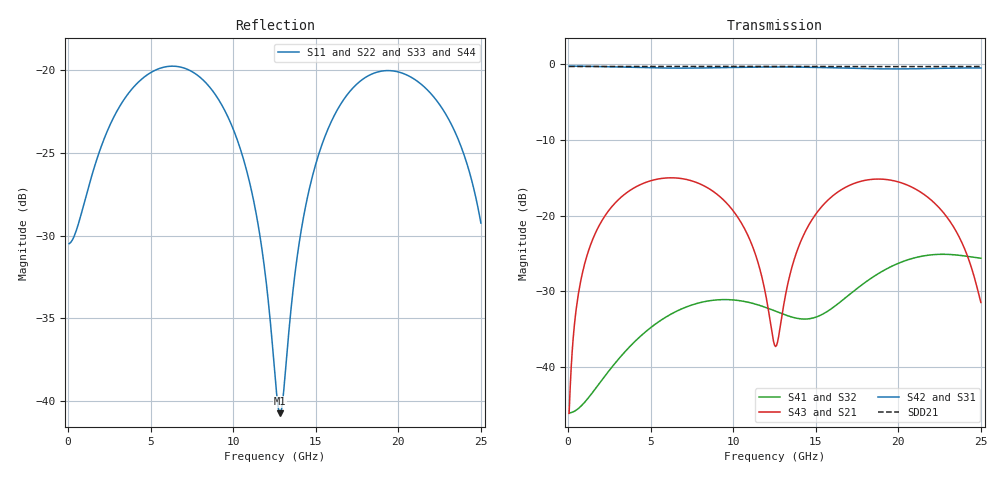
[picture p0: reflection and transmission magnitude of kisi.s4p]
! thru_BV_ts_m2_per0_q050f25s_out: 2×thru In3.Cu, 6 mm, pair
! stackup: as the board case
! ports: 1 near, 2 near, 3 far, 4 far
! kisi-fdtd, conformal, dfine 0.05 mm, 193256 cells
# Hz S RI R 50
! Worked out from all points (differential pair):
!   400 points, 62.5 MHz to 25 GHz, reference 50 ohm
!   strongest paths, dB at 62.5 MHz, 6.312 GHz, 12.56 GHz, 18.81 GHz, 25 GHz:
!     S42: -0.3, -0.5, -0.4, -0.6, -0.5
!     S31: -0.3, -0.5, -0.4, -0.6, -0.5
!     S43: -46.1, -15.0, -37.3, -15.2, -31.5
!     S21: -46.1, -15.0, -37.3, -15.2, -31.5
!     S41: -46.1, -32.9, -32.6, -27.6, -25.6
!     S32: -46.1, -32.9, -32.6, -27.6, -25.6
!   taken as a pair (ports 2,1 in; 4,3 out), SDD21 dB: -0.3, -0.3, -0.3, -0.3, -0.3
!   lowest |S11| = -40.7 dB at 12.81 GHz (marker M1), VSWR 1.02, Z = 50.9 - j0.0554 ohm
!   |S11| at or under -10 dB: start of sweep to end of sweep
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6.25e7  -0.0298 0.00229  0.00394 0.00297  0.9714 -0.016  0.00494 -0.000381
        0.00394 0.00297  -0.0298 0.00229  0.00494 -0.000381  0.9714 -0.016
        0.9714 -0.016  0.00494 -0.000381  -0.0298 0.00229  0.00394 0.00297
        0.00494 -0.000381  0.9714 -0.016  0.00394 0.00297  -0.0298 0.00229
1.25e9  -0.0154 0.0418  0.0236 0.0542  0.917 -0.3136  0.000856 -0.00623
        0.0236 0.0542  -0.0154 0.0418  0.000856 -0.00623  0.917 -0.3136
        0.917 -0.3136  0.000856 -0.00623  -0.0154 0.0418  0.0236 0.0542
        0.000856 -0.00623  0.917 -0.3136  0.0236 0.0542  -0.0154 0.0418
4.625e9  0.0784 0.0548  0.154 0.0575  0.3425 -0.8855  -0.0109 0.0128
         0.154 0.0575  0.0784 0.0548  -0.0109 0.0128  0.3425 -0.8855
         0.3425 -0.8855  -0.0109 0.0128  0.0784 0.0548  0.154 0.0575
         -0.0109 0.0128  0.3425 -0.8855  0.154 0.0575  0.0784 0.0548
1e10  0.0503 -0.0435  0.069 -0.0823  -0.7973 -0.5213  0.0252 -0.0115
      0.069 -0.0823  0.0503 -0.0435  0.0252 -0.0115  -0.7973 -0.5213
      -0.7973 -0.5213  0.0252 -0.0115  0.0503 -0.0435  0.069 -0.0823
      0.0252 -0.0115  -0.7973 -0.5213  0.069 -0.0823  0.0503 -0.0435
1.28125e10  0.00916 -0.000544  0.0149 0.00906  -0.9479 0.1473  0.00491 -0.0222
            0.0149 0.00906  0.00916 -0.000544  0.00491 -0.0222  -0.9479 0.1473
            -0.9479 0.1473  0.00491 -0.0222  0.00916 -0.000544  0.0149 0.00906
            0.00491 -0.0222  -0.9479 0.1473  0.0149 0.00906  0.00916 -0.000544
1.8625e10  0.0981 0.00931  0.1741 -0.0059  0.0808 0.9306  -0.0291 -0.0278
           0.1741 -0.0059  0.0981 0.00931  -0.0291 -0.0278  0.0808 0.9306
           0.0808 0.9306  -0.0291 -0.0278  0.0981 0.00931  0.1741 -0.0059
           -0.0291 -0.0278  0.0808 0.9306  0.1741 -0.0059  0.0981 0.00931
2.5e10  0.0149 -0.0311  0.0211 -0.0163  0.9334 -0.1489  -0.0124 0.0507
        0.0211 -0.0163  0.0149 -0.0311  -0.0124 0.0507  0.9334 -0.1489
        0.9334 -0.1489  -0.0124 0.0507  0.0149 -0.0311  0.0211 -0.0163
        -0.0124 0.0507  0.9334 -0.1489  0.0211 -0.0163  0.0149 -0.0311
